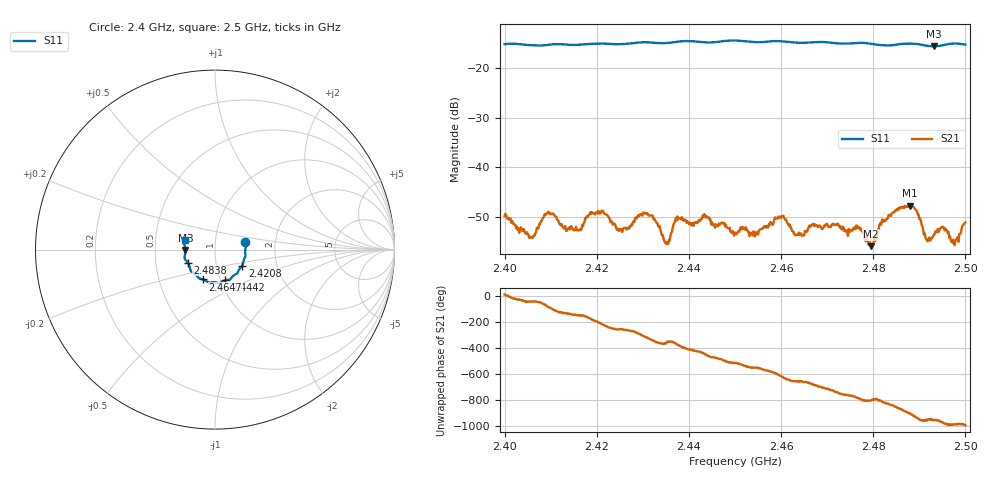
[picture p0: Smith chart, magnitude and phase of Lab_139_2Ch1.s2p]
# Hz S RI R 50
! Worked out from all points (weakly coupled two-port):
!   601 points, 2.4 GHz to 2.5 GHz, reference 50 ohm
!   highest |S21| = -47.73 dB at 2.488 GHz (marker M1); lowest = -55.9 dB at 2.4795 GHz (marker M2)
!   lowest |S11| = -15.6 dB at 2.4932 GHz (marker M3), VSWR 1.40, Z = 35.8 - j0.14 ohm
!   |S11| at or under -10 dB: start of sweep to end of sweep
!   S12 and S22 are empty: the file has one direction only
!   S11 on the Smith chart (normalised r, x): 2.4 GHz: 1.40, +0.12; 2.4208 GHz: 1.33, -0.24; 2.4442 GHz: 1.05, -0.37; 2.4647 GHz: 0.83, -0.29; 2.4838 GHz: 0.73, -0.11; 2.5 GHz: 0.71, +0.08
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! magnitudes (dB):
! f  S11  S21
! 2.4 GHz  -15.2  -49.8
! 2.4058 GHz  -15.4  -54.2
! 2.4093 GHz  -15.3  -49.2
! 2.4167 GHz  -15.3  -52.5
! 2.4208 GHz  -15.1  -49.3
! 2.425 GHz  -15.2  -52.6
! 2.4305 GHz  -14.8  -49.3
! 2.4333 GHz  -15.0  -51.9
! 2.4353 GHz  -15.0  -55.1
! 2.4377 GHz  -14.7  -50.5
! 2.4442 GHz  -14.9  -50.2
! 2.45 GHz  -14.5  -53.1
! 2.46 GHz  -14.6  -50.2
! 2.4647 GHz  -14.9  -53.7
! 2.4667 GHz  -14.8  -51.6
! 2.4795 GHz  -15.1  -55.9
! 2.4833 GHz  -15.5  -49.6
! 2.4838 GHz  -15.4  -49.8
! 2.488 GHz  -15.1  -47.7
! 2.4932 GHz  -15.6  -53.5
! 2.4975 GHz  -15.1  -55.4
! 2.5 GHz  -15.3  -51.1
